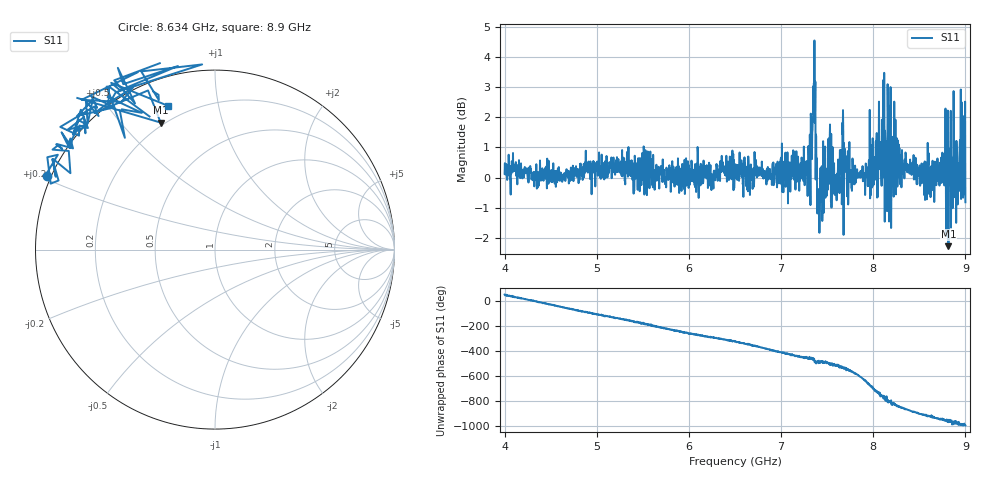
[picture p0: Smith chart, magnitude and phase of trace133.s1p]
! Created with skrf 1.8.0 (http://scikit-rf.org).
# Hz S RI R 50.0
!freq ReS11 ImS11
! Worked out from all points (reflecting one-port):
!   1601 points, 4 GHz to 9 GHz, reference 50 ohm
!   lowest |S11| = -2.3 dB at 8.816 GHz (marker M1), VSWR 7.68, Z = 9.27 + j32.2 ohm
!   phase of S11 starts at 54 deg and turns -1048 deg over the sweep
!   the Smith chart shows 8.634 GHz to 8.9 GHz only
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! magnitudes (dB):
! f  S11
! 4 GHz  0.1
! 4.625 GHz  -0.1
! 5.25 GHz  0.2
! 5.875 GHz  -0.2
! 6.5 GHz  0.3
! 7.125 GHz  0.1
! 7.294 GHz  0.0
! 7.319 GHz  -0.9
! 7.347 GHz  2.0
! 7.366 GHz  1.8
! 7.4 GHz  -0.6
! 7.412 GHz  -0.4
! 7.519 GHz  1.2
! 7.588 GHz  0.1
! 7.65 GHz  0.5
! 7.75 GHz  0.2
! 7.991 GHz  -0.3
! 8.066 GHz  0.5
! 8.097 GHz  0.0
! 8.147 GHz  1.2
! 8.162 GHz  1.3
! 8.197 GHz  -0.4
! 8.375 GHz  0.4
! 8.556 GHz  -0.6
! 8.816 GHz  -2.3
! 8.919 GHz  0.1
! 8.972 GHz  0.9
! 9 GHz  -0.8
